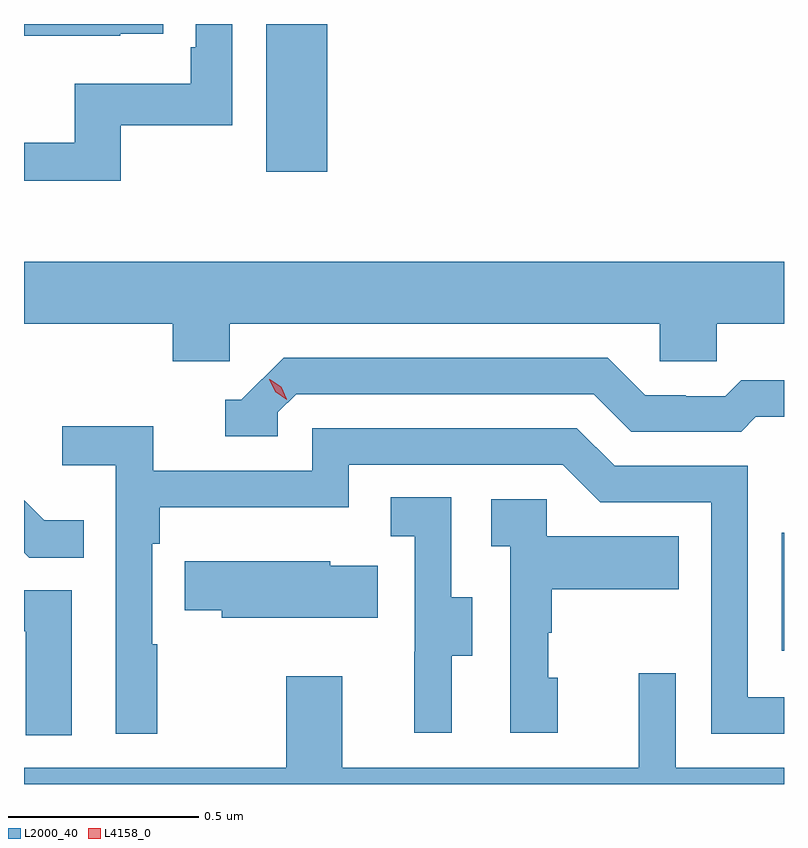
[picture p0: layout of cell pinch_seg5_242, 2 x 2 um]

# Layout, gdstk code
import gdstk
lib = gdstk.Library(unit=1e-6, precision=1e-09)
def R(c, l, rs):  # rectangles x0, y0, x1, y1
    for r in rs: c.add(gdstk.rectangle(r[:2], r[2:], *l))
def P(c, l, *ps):  # polygons
    for p in ps: c.add(gdstk.Polygon(p, *l))
L2000_40 = (2000, 40)
L4158_0 = (4158, 0)

pinch_seg5_242 = lib.new_cell('pinch_seg5_242')
R(pinch_seg5_242, L2000_40, [(971.214,907.848,971.22,908.158), (969.857,909.108,970.018,909.497)])
P(pinch_seg5_242, L2000_40, [(969.473,909.471),(969.586,909.471),(969.586,909.497),(969.22,909.497),(969.22,909.466),(969.473,909.466)],
  [(969.475,909.231),(969.768,909.231),(969.768,909.497),(969.672,909.497),(969.672,909.436),(969.659,909.436),(969.659,909.34),(969.354,909.34),(969.354,909.185),(969.22,909.185),(969.22,909.084),(969.475,909.084)],
  [(969.762,908.708),(970.893,908.708),(970.893,908.61),(971.043,908.61),(971.043,908.708),(971.22,908.708),(971.22,908.872),(969.22,908.872),(969.22,908.708),(969.611,908.708),(969.611,908.61),(969.762,908.61)],
  [(969.888,908.475),(969.936,908.523),(970.719,908.523),(970.818,908.424),(971.107,908.424),(971.146,908.463),(971.22,908.463),(971.22,908.56),(971.107,908.56),(971.065,908.517),(970.962,908.517),(970.962,908.52),(970.855,908.52),(970.756,908.619),(969.903,908.619),(969.792,908.508),(969.749,908.508),(969.749,908.412),(969.888,908.412)],
  [(969.571,907.865),(969.558,907.865),(969.558,908.129),(969.577,908.129),(969.577,908.225),(970.074,908.225),(970.074,908.337),(970.638,908.337),(970.737,908.238),(971.028,908.238),(971.028,907.629),(971.22,907.629),(971.22,907.725),(971.124,907.725),(971.124,908.334),(970.774,908.334),(970.675,908.433),(969.978,908.433),(969.978,908.322),(969.56,908.322),(969.56,908.438),(969.321,908.438),(969.321,908.336),(969.462,908.336),(969.462,907.629),(969.571,907.629)],
  [(970.345,907.834),(970.399,907.834),(970.399,907.989),(970.344,907.989),(970.344,908.252),(970.185,908.252),(970.185,908.149),(970.248,908.149),(970.248,907.845),(970.247,907.845),(970.247,907.632),(970.345,907.632)],
  [(970.624,907.776),(970.599,907.776),(970.599,907.895),(970.609,907.895),(970.609,908.009),(970.943,908.009),(970.943,908.149),(970.596,908.149),(970.596,908.247),(970.449,908.247),(970.449,908.123),(970.5,908.123),(970.5,907.632),(970.624,907.632)],
  [(969.377,908.191),(969.273,908.191),(969.22,908.244),(969.22,908.106),(969.234,908.092),(969.377,908.092)],
  [(970.151,908.071),(970.026,908.071),(970.026,908.083),(969.643,908.083),(969.643,907.954),(969.741,907.954),(969.741,907.934),(970.151,907.934)],
  [(969.346,908.007),(969.22,908.007),(969.22,907.899),(969.224,907.899),(969.224,907.625),(969.346,907.625)],
  [(971.22,907.54),(970.935,907.54),(970.935,907.789),(970.838,907.789),(970.838,907.54),(970.057,907.54),(970.057,907.78),(969.91,907.78),(969.91,907.54),(969.22,907.54),(969.22,907.497),(971.22,907.497)])
P(pinch_seg5_242, L4158_0, [(969.911,908.508),(969.881,908.529),(969.866,908.562),(969.866,908.562),(969.867,908.562),(969.897,908.542),(969.912,908.509),(969.912,908.508)])

lib.write_gds('pinch_seg5_242.gds')
